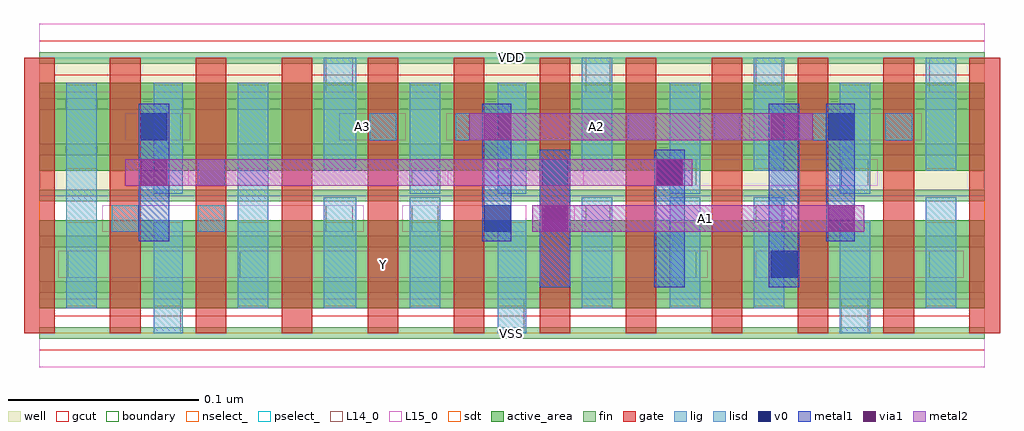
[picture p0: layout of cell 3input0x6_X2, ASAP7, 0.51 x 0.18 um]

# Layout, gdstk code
import gdstk
lib = gdstk.Library(unit=1e-6, precision=1e-09)
def R(c, l, rs):  # rectangles x0, y0, x1, y1
    for r in rs: c.add(gdstk.rectangle(r[:2], r[2:], *l))
def A(c, l, x, y, w, h, nx, ny, dx, dy):  # array of equal rectangles
    R(c, l, [(x+i*dx, y+j*dy, x+i*dx+w, y+j*dy+h) for i in range(nx) for j in range(ny)])
def P(c, l, *ps):  # polygons
    for p in ps: c.add(gdstk.Polygon(p, *l))
well = (1, 0)
fin = (2, 0)
gate = (7, 0)
gcut = (10, 0)
active_area = (11, 0)
nselect_ = (12, 0)
pselect_ = (13, 0)
L14_0 = (14, 0)
L15_0 = (15, 0)
lig = (16, 0)
lisd = (17, 0)
v0 = (18, 0)
metal1 = (19, 0)
metal2 = (20, 0)
via1 = (21, 0)
sdt = (88, 0)
boundary = (100, 0)

c_3input0x6_x2 = lib.new_cell('3input0x6_X2')
R(c_3input0x6_x2, well, [(0,0.072,0.495,0.144)])
A(c_3input0x6_x2, fin, 0, -0.003, 0.495, 0.006, 1, 7, 0, 0.024)
A(c_3input0x6_x2, gate, -0.008, 0, 0.016, 0.144, 12, 1, 0.045, 0)
P(c_3input0x6_x2, gcut, [(0,-0.009),(0,0),(-0.008,0),(-0.008,0.135),(0.008,0.135),(0.008,0.009),(0.127,0.009),(0.127,0.135),(0.143,0.135),(0.143,0.009),(0.487,0.009),(0.487,0.135),(-0.008,0.135),(-0.008,0.144),(0,0.144),(0,0.153),(0.495,0.153),(0.495,0.144),(0.503,0.144),(0.503,0),(0.495,0),(0.495,-0.009)])
R(c_3input0x6_x2, active_area, [(0,0.013,0.495,0.059), (0,0.085,0.495,0.131)])
R(c_3input0x6_x2, nselect_, [(0,0,0.495,0.072)])
R(c_3input0x6_x2, pselect_, [(0,0.072,0.495,0.144)])
A(c_3input0x6_x2, L14_0, 0.06, 0, 0.014, 0.018, 3, 1, 0.18, 0)
A(c_3input0x6_x2, L14_0, 0.308, 0.101, 0.014, 0.014, 4, 1, 0.045, 0)
R(c_3input0x6_x2, L14_0, [(0.015,0.029,0.03,0.043), (0.105,0.029,0.12,0.043), (0.33,0.029,0.344,0.043), (0.466,0.029,0.48,0.043), (0.038,0.053,0.052,0.067), (0.083,0.053,0.097,0.067), (0.15,0.053,0.164,0.067), (0.195,0.053,0.209,0.067), (0.286,0.053,0.299,0.067), (0.375,0.053,0.389,0.067), (0.083,0.077,0.097,0.091), (0.195,0.077,0.209,0.091), (0.263,0.077,0.277,0.091), (0.33,0.077,0.344,0.091), (0.42,0.077,0.434,0.091), (0.06,0.101,0.074,0.115), (0.173,0.101,0.187,0.115), (0.218,0.101,0.232,0.115), (0.15,0.126,0.164,0.144), (0.286,0.126,0.299,0.144), (0.375,0.126,0.389,0.144), (0.466,0.126,0.48,0.144)])
R(c_3input0x6_x2, L15_0, [(0,-0.018,0.495,0.018), (0.01,0.029,0.35,0.043), (0.375,0.029,0.484,0.043), (0.033,0.053,0.17,0.067), (0.19,0.053,0.255,0.067), (0.28,0.053,0.394,0.067), (0.078,0.077,0.214,0.091), (0.247,0.077,0.285,0.091), (0.315,0.077,0.439,0.091), (0.045,0.101,0.079,0.115), (0.157,0.101,0.192,0.115), (0.213,0.101,0.372,0.115), (0.393,0.101,0.462,0.115), (0,0.126,0.495,0.162)])
A(c_3input0x6_x2, lig, 0.308, 0.101, 0.014, 0.014, 4, 1, 0.045, 0)
R(c_3input0x6_x2, lig, [(0.038,0.053,0.052,0.067), (0.083,0.053,0.097,0.067), (0.083,0.077,0.097,0.091), (0.263,0.077,0.277,0.091), (0.173,0.101,0.187,0.115), (0.218,0.101,0.232,0.115)])
A(c_3input0x6_x2, lisd, 0.284, 0.085, 0.016, 0.059, 3, 1, 0.09, 0)
R(c_3input0x6_x2, lisd, [(0.06,0,0.075,0.059), (0.24,0,0.255,0.059), (0.419,0,0.435,0.059), (0.014,0.013,0.03,0.131), (0.104,0.013,0.12,0.131), (0.149,0.013,0.166,0.071), (0.194,0.013,0.21,0.071), (0.284,0.013,0.3,0.071), (0.33,0.013,0.346,0.071), (0.374,0.013,0.39,0.071), (0.464,0.013,0.48,0.071), (0.06,0.073,0.075,0.131), (0.194,0.073,0.21,0.131), (0.24,0.073,0.255,0.131), (0.33,0.073,0.346,0.131), (0.419,0.073,0.435,0.131), (0.149,0.085,0.166,0.144)])
R(c_3input0x6_x2, v0, [(0.383,0.029,0.397,0.043), (0.233,0.053,0.247,0.067), (0.263,0.077,0.277,0.091), (0.323,0.077,0.337,0.091), (0.053,0.101,0.067,0.115), (0.413,0.101,0.427,0.115)])
R(c_3input0x6_x2, metal1, [(0.262,0.024,0.278,0.096), (0.322,0.024,0.338,0.096), (0.382,0.024,0.398,0.12), (0.052,0.048,0.068,0.12), (0.232,0.048,0.247,0.12), (0.412,0.048,0.427,0.12)])
R(c_3input0x6_x2, metal2, [(0.258,0.053,0.432,0.067), (0.045,0.077,0.342,0.091), (0.225,0.101,0.405,0.115)])
R(c_3input0x6_x2, via1, [(0.263,0.053,0.277,0.067), (0.413,0.053,0.427,0.067), (0.053,0.077,0.067,0.091), (0.323,0.077,0.337,0.091), (0.233,0.101,0.247,0.115), (0.383,0.101,0.397,0.115)])
A(c_3input0x6_x2, sdt, 0.014, 0.014, 0.016, 0.044, 4, 2, 0.09, 0.072)
A(c_3input0x6_x2, sdt, 0.374, 0.014, 0.016, 0.044, 3, 2, 0.045, 0.072)
R(c_3input0x6_x2, sdt, [(0.06,0.014,0.075,0.058), (0.149,0.014,0.166,0.058), (0.24,0.014,0.255,0.058), (0.33,0.014,0.346,0.058), (0.06,0.086,0.075,0.13), (0.149,0.086,0.166,0.13), (0.24,0.086,0.255,0.13), (0.33,0.086,0.346,0.13)])
R(c_3input0x6_x2, boundary, [(0,0,0.495,0.144)])
c_3input0x6_x2.add(gdstk.Label('A2', (0.292,0.108), layer=15, texttype=251))
c_3input0x6_x2.add(gdstk.Label('VSS', (0.247,0), layer=15, texttype=251))
c_3input0x6_x2.add(gdstk.Label('VDD', (0.247,0.144), layer=15, texttype=251))
c_3input0x6_x2.add(gdstk.Label('VSS', (0.247,0), layer=15, texttype=251))
c_3input0x6_x2.add(gdstk.Label('VDD', (0.247,0.144), layer=15, texttype=251))
c_3input0x6_x2.add(gdstk.Label('Y', (0.18,0.036), layer=15, texttype=251))
c_3input0x6_x2.add(gdstk.Label('VSS', (0.247,0), layer=15, texttype=251))
c_3input0x6_x2.add(gdstk.Label('VDD', (0.247,0.144), layer=15, texttype=251))
c_3input0x6_x2.add(gdstk.Label('A3', (0.169,0.108), layer=15, texttype=251))
c_3input0x6_x2.add(gdstk.Label('VSS', (0.247,0), layer=15, texttype=251))
c_3input0x6_x2.add(gdstk.Label('VDD', (0.247,0.144), layer=15, texttype=251))
c_3input0x6_x2.add(gdstk.Label('VSS', (0.247,0), layer=3, texttype=251))
c_3input0x6_x2.add(gdstk.Label('VSS', (0.247,0), layer=3, texttype=251))
c_3input0x6_x2.add(gdstk.Label('VSS', (0.247,0), layer=3, texttype=251))
c_3input0x6_x2.add(gdstk.Label('VSS', (0.247,0), layer=3, texttype=251))
c_3input0x6_x2.add(gdstk.Label('VDD', (0.247,0.144), layer=1, texttype=251))
c_3input0x6_x2.add(gdstk.Label('VDD', (0.247,0.144), layer=1, texttype=251))
c_3input0x6_x2.add(gdstk.Label('VDD', (0.247,0.144), layer=1, texttype=251))
c_3input0x6_x2.add(gdstk.Label('VDD', (0.247,0.144), layer=1, texttype=251))
c_3input0x6_x2.add(gdstk.Label('A1', (0.349,0.06), layer=20, texttype=251))

lib.write_gds('3input0x6_X2.gds')
